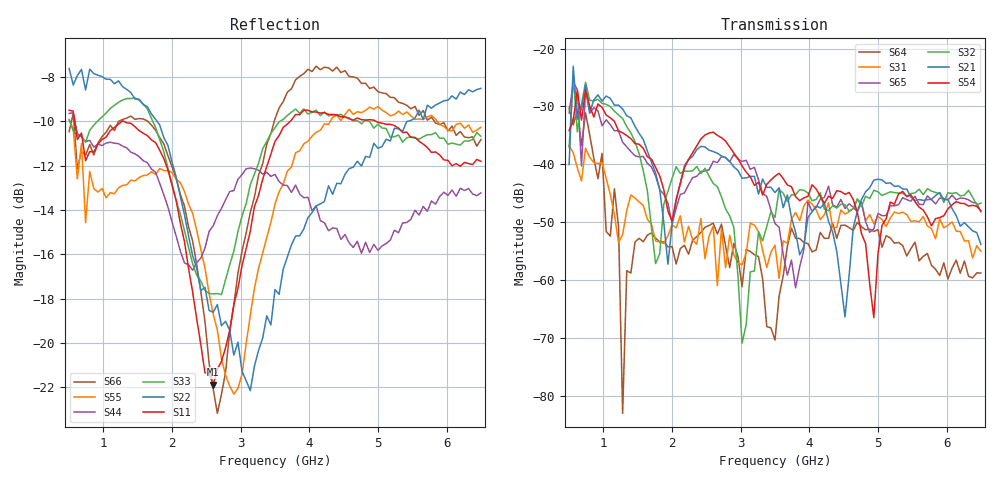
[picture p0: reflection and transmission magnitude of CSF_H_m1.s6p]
!Keysight Technologies,M9804A,MY58100912,A.14.10.03
!Date: Thursday, April 27, 2023 10:28:33
!Correction: S11(C  6-Port  )
!S12(C  6-Port  )
!S13(C  6-Port  )
!S14(C  6-Port  )
!S15(C  6-Port  )
!S16(C  6-Port  )
!S21(C  6-Port  )
!S22(C  6-Port  )
!S23(C  6-Port  )
!S24(C  6-Port  )
!S25(C  6-Port  )
!S26(C  6-Port  )
!S31(C  6-Port  )
!S32(C  6-Port  )
!S33(C  6-Port  )
!S34(C  6-Port  )
!S35(C  6-Port  )
!S36(C  6-Port  )
!S41(C  6-Port  )
!S42(C  6-Port  )
!S43(C  6-Port  )
!S44(C  6-Port  )
!S45(C  6-Port  )
!S46(C  6-Port  )
!S51(C  6-Port  )
!S52(C  6-Port  )
!S53(C  6-Port  )
!S54(C  6-Port  )
!S55(C  6-Port  )
!S56(C  6-Port  )
!S61(C  6-Port  )
!S62(C  6-Port  )
!S63(C  6-Port  )
!S64(C  6-Port  )
!S65(C  6-Port  )
!S66(C  6-Port  )
!S6P File: Measurement: :
# Hz S  RI  R 50
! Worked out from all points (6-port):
!   101 points, 500 MHz to 6.5 GHz, reference 50 ohm
!   strongest paths, dB at 500 MHz, 2 GHz, 3.5 GHz, 5 GHz, 6.5 GHz:
!     S54: -34.1, -49.7, -42.0, -55.5, -48.0
!     S21: -40.0, -50.5, -44.8, -42.5, -53.8
!     S32: -37.1, -42.4, -49.1, -44.7, -46.7
!     S65: -31.1, -50.2, -50.2, -48.4, -48.2
!     S31: -36.8, -50.4, -53.9, -49.0, -55.0
!     S64: -30.3, -54.2, -70.3, -51.2, -58.7
!   lowest |S11| = -21.9 dB at 2.6 GHz (marker M1), VSWR 1.18, Z = 42.8 + j1.93 ohm
!   |S11| at or under -10 dB: 581.2 MHz to 1.272 GHz (691.1 MHz wide, 74.6 % of centre); 1.293 GHz to 3.722 GHz (2.43 GHz wide, 96.9 % of centre); 4.969 GHz to end of sweep
